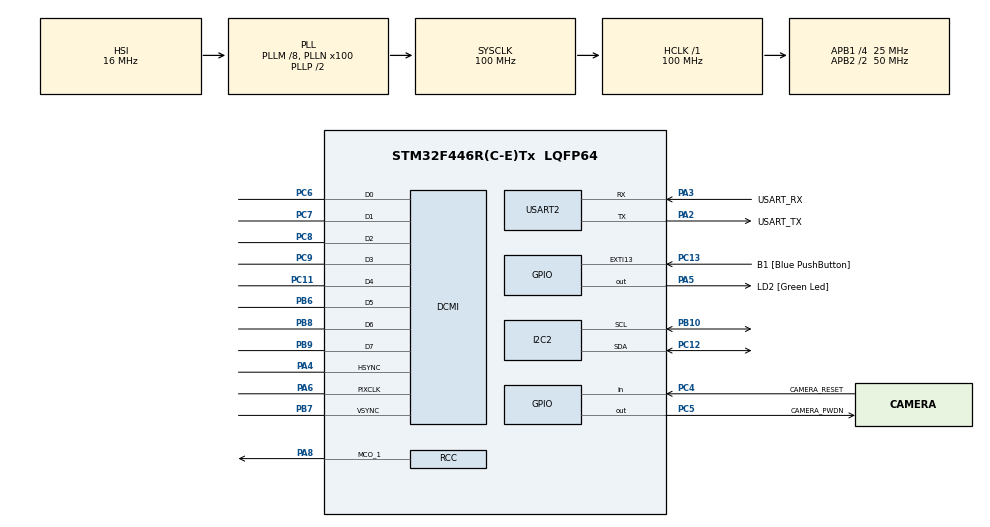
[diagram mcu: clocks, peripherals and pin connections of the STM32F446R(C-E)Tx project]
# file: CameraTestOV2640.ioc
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DCMI.JPEGMode=DCMI_JPEG_ENABLE
DCMI.PCKPolarity=DCMI_PCKPOLARITY_RISING
Dma.DCMI.0.Direction=DMA_PERIPH_TO_MEMORY
Dma.DCMI.0.FIFOMode=DMA_FIFOMODE_ENABLE
Dma.DCMI.0.FIFOThreshold=DMA_FIFO_THRESHOLD_FULL
Dma.DCMI.0.Instance=DMA2_Stream1
Dma.DCMI.0.MemBurst=DMA_MBURST_SINGLE
Dma.DCMI.0.MemDataAlignment=DMA_MDATAALIGN_BYTE
Dma.DCMI.0.MemInc=DMA_MINC_ENABLE
Dma.DCMI.0.Mode=DMA_CIRCULAR
Dma.DCMI.0.PeriphBurst=DMA_PBURST_SINGLE
Dma.DCMI.0.PeriphDataAlignment=DMA_PDATAALIGN_WORD
Dma.DCMI.0.PeriphInc=DMA_PINC_DISABLE
Dma.DCMI.0.Priority=DMA_PRIORITY_VERY_HIGH
Dma.Request0=DCMI
Dma.Request1=USART2_TX
Dma.USART2_TX.1.Direction=DMA_MEMORY_TO_PERIPH
Dma.USART2_TX.1.FIFOMode=DMA_FIFOMODE_ENABLE
Dma.USART2_TX.1.FIFOThreshold=DMA_FIFO_THRESHOLD_FULL
Dma.USART2_TX.1.Instance=DMA1_Stream6
Dma.USART2_TX.1.MemBurst=DMA_MBURST_SINGLE
Dma.USART2_TX.1.MemDataAlignment=DMA_MDATAALIGN_BYTE
Dma.USART2_TX.1.MemInc=DMA_MINC_ENABLE
Dma.USART2_TX.1.Mode=DMA_NORMAL
Dma.USART2_TX.1.PeriphBurst=DMA_PBURST_SINGLE
Dma.USART2_TX.1.PeriphDataAlignment=DMA_PDATAALIGN_BYTE
Dma.USART2_TX.1.PeriphInc=DMA_PINC_DISABLE
Dma.USART2_TX.1.Priority=DMA_PRIORITY_VERY_HIGH
I2C2.I2C_Mode=I2C_Standard
Mcu.Family=STM32F4
Mcu.Name=STM32F446R(C-E)Tx
Mcu.Package=LQFP64
NVIC.DMA1_Stream6_IRQn=true\:0\:0\:false\:false\:true\:false\:true\:true
NVIC.DMA2_Stream1_IRQn=true\:0\:0\:false\:false\:true\:false\:true\:true
NVIC.PriorityGroup=NVIC_PRIORITYGROUP_0
PA13.GPIO_Label=TMS
PA13.Mode=Serial_Wire
PA13.Signal=SYS_JTMS-SWDIO
PA14.GPIO_Label=TCK
PA14.Mode=Serial_Wire
PA14.Signal=SYS_JTCK-SWCLK
PA2.GPIO_Label=USART_TX
PA2.Mode=Asynchronous
PA2.Signal=USART2_TX
PA3.GPIO_Label=USART_RX
PA3.Mode=Asynchronous
PA3.Signal=USART2_RX
PA4.Mode=Slave_8_bits_External_Synchro
PA4.Signal=DCMI_HSYNC
PA5.GPIO_Label=LD2 [Green Led]
PA5.Signal=GPIO_Output
PA6.Mode=Slave_8_bits_External_Synchro
PA6.Signal=DCMI_PIXCLK
PA8.GPIO_Speed=GPIO_SPEED_FREQ_VERY_HIGH
PA8.Mode=Clock-out-1
PA8.Signal=RCC_MCO_1
PB10.GPIO_Pu=GPIO_PULLUP
PB10.Mode=I2C
PB10.Signal=I2C2_SCL
PB3.GPIO_Label=SWO
PB3.Signal=SYS_JTDO-SWO
PB6.Mode=Slave_8_bits_External_Synchro
PB6.Signal=DCMI_D5
PB7.Mode=Slave_8_bits_External_Synchro
PB7.Signal=DCMI_VSYNC
PB8.Mode=Slave_8_bits_External_Synchro
PB8.Signal=DCMI_D6
PB9.Mode=Slave_8_bits_External_Synchro
PB9.Signal=DCMI_D7
PC11.Mode=Slave_8_bits_External_Synchro
PC11.Signal=DCMI_D4
PC12.GPIO_Pu=GPIO_PULLUP
PC12.Mode=I2C
PC12.Signal=I2C2_SDA
PC13.GPIO_Label=B1 [Blue PushButton]
PC13.GPIO_ModeDefaultEXTI=GPIO_MODE_IT_FALLING
PC13.Signal=GPXTI13
PC14-OSC32_IN.Mode=LSE-External-Oscillator
PC14-OSC32_IN.Signal=RCC_OSC32_IN
PC15-OSC32_OUT.Mode=LSE-External-Oscillator
PC15-OSC32_OUT.Signal=RCC_OSC32_OUT
PC4.GPIO_Label=CAMERA_RESET
PC4.Signal=GPIO_Input
PC5.GPIO_Label=CAMERA_PWDN
PC5.Signal=GPIO_Output
PC6.Mode=Slave_8_bits_External_Synchro
PC6.Signal=DCMI_D0
PC7.Mode=Slave_8_bits_External_Synchro
PC7.Signal=DCMI_D1
PC8.Mode=Slave_8_bits_External_Synchro
PC8.Signal=DCMI_D2
PC9.Mode=Slave_8_bits_External_Synchro
PC9.Signal=DCMI_D3
PH0-OSC_IN.Mode=HSE-External-Clock-Source
PH0-OSC_IN.Signal=RCC_OSC_IN
PH1-OSC_OUT.Mode=HSE-External-Clock-Source
PH1-OSC_OUT.Signal=RCC_OSC_OUT
ProjectManager.HeapSize=0x200
ProjectManager.StackSize=0x400
ProjectManager.TargetToolchain=STM32CubeIDE
RCC.48MHZClocksFreq_Value=84000000
RCC.AHBFreq_Value=100000000
RCC.APB1CLKDivider=RCC_HCLK_DIV4
RCC.APB1Freq_Value=25000000
RCC.APB1TimFreq_Value=50000000
RCC.APB2CLKDivider=RCC_HCLK_DIV2
RCC.APB2Freq_Value=50000000
RCC.APB2TimFreq_Value=100000000
RCC.CortexFreq_Value=100000000
RCC.DATA_CACHE_ENABLE=0
RCC.FLatency-AdvancedSettings=FLASH_LATENCY_3
RCC.HCLKFreq_Value=100000000
RCC.HSE_VALUE=8000000
RCC.HSI_VALUE=16000000
RCC.INSTRUCTION_CACHE_ENABLE=0
RCC.PLLM=8
RCC.PLLN=100
RCC.PREFETCH_ENABLE=0
RCC.PWR_Regulator_Voltage_Scale=PWR_REGULATOR_VOLTAGE_SCALE1
RCC.RCC_MCO1Source=RCC_MCO1SOURCE_PLLCLK
RCC.RCC_MCO2Source=RCC_MCO2SOURCE_PLLI2SCLK
RCC.RCC_MCODiv1=RCC_MCODIV_5
RCC.RCC_MCODiv2=RCC_MCODIV_4
RCC.RCC_TIM_PRescaler_Selection=RCC_TIMPRES_DESACTIVATED
RCC.SYSCLKFreq_VALUE=100000000
RCC.SYSCLKSource=RCC_SYSCLKSOURCE_PLLCLK
RCC.USBFreq_Value=100000000
RCC.VCOOutputFreq_Value=200000000
USART2.VirtualMode=VM_ASYNC
board=NUCLEO-F446RE

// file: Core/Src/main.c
/* USER CODE BEGIN Header */
/**
  ******************************************************************************
  * @file           : main.c
  * @brief          : Main program body
  ******************************************************************************
  * @attention
  *
  * Copyright (c) 2024 STMicroelectronics.
  * All rights reserved.
  *
  * This software is licensed under terms that can be found in the LICENSE file
  * in the root directory of this software component.
  * If no LICENSE file comes with this software, it is provided AS-IS.
  *
  ******************************************************************************
  */
/* USER CODE END Header */
#include "main.h"

/* USER CODE BEGIN Includes */
#include <stdio.h>
#include <stdarg.h>
#include <string.h>
#include "ov2640.h"
/* USER CODE END Includes */

DCMI_HandleTypeDef hdcmi;
DMA_HandleTypeDef hdma_dcmi;

I2C_HandleTypeDef hi2c2;

UART_HandleTypeDef huart2;
DMA_HandleTypeDef hdma_usart2_tx;

/* USER CODE BEGIN PV */
/**
 * Resolution selection
 */

#define RES160X120
//#define RES320X240
//#define RES640X480
//#define RES800x600
//#define RES1024x768
//#define RES1280x960

#ifdef RES160X120
enum imageResolution imgRes=RES_160X120;
uint8_t frameBuffer[RES_160X120] = { 0 };
#endif

#ifdef RES320X240
enum imageResolution imgRes=RES_320X240;
uint8_t frameBuffer[RES_320X240] = { 0 };
#endif

#ifdef RES640X480
enum imageResolution imgRes=RES_640X480;
uint8_t frameBuffer[RES_640X480] = { 0 };
#endif

#ifdef RES800x600
enum imageResolution imgRes=RES_800x600;
uint8_t frameBuffer[RES_800x600] = { 0 };
#endif

#ifdef RES1024x768
enum imageResolution imgRes=RES_1024x768;
uint8_t frameBuffer[RES_1024x768] = { 0 };
#endif

#ifdef RES1280x960
enum imageResolution imgRes = RES_1280x960;
uint8_t frameBuffer[RES_1280x960] = { 0 };
#endif
/* USER CODE END PV */

void SystemClock_Config(void);
static void MX_GPIO_Init(void);
static void MX_DMA_Init(void);
static void MX_USART2_UART_Init(void);
static void MX_DCMI_Init(void);
static void MX_I2C2_Init(void);

/* USER CODE BEGIN 0 */
void vprint(const char *fmt, va_list argp) {
	char string[200];
	if (0 < vsprintf(string, fmt, argp)) // build string
			{
		HAL_UART_Transmit(&huart2, (uint8_t*) string, strlen(string), 0xffffff); // send message via UART
	}
}

void my_printf(const char *fmt, ...) // custom printf() function
{
	va_list argp;
	va_start(argp, fmt);
	vprint(fmt, argp);
	va_end(argp);
}
short mutex = 0;
int16_t bufferPointer = 0;
short headerFound = 0;
/* USER CODE END 0 */

int main(void)
{

  /* MCU Configuration--------------------------------------------------------*/

  /* Reset of all peripherals, Initializes the Flash interface and the Systick. */
  HAL_Init();

  /* Configure the system clock */
  SystemClock_Config();

  /* Initialize all configured peripherals */
  MX_GPIO_Init();
  MX_DMA_Init();
  MX_USART2_UART_Init();
  MX_DCMI_Init();
  MX_I2C2_Init();
  /* USER CODE BEGIN 2 */
	OV2640_Init(&hi2c2, &hdcmi);
	HAL_Delay(100);
	OV2640_ResolutionOptions(imgRes);
	HAL_Delay(1000);
	my_printf("Finishing configuration \r\n");

  /* USER CODE END 2 */

  /* Infinite loop */
  /* USER CODE BEGIN WHILE */
  while (1)
  {

	  if (HAL_GPIO_ReadPin(B1_GPIO_Port, B1_Pin))
	  {
		  if (HAL_GPIO_ReadPin(B1_GPIO_Port, B1_Pin)==0)
		  {
			  my_printf("Button Pressed\r\n");
			  memset(frameBuffer, 0, sizeof frameBuffer);
			  OV2640_CaptureSnapshot((uint32_t) frameBuffer, imgRes);
			  my_printf("Captured Frame\r\n");
//			  int i=0;
//			  while(i<15533)
//			  {
//				  my_printf("%04x",frameBuffer[i]);
//				  i++;
//			  }

		  }
//				while (1) {
//					if (headerFound == 0 && frameBuffer[bufferPointer] == 0xFF
//							&& frameBuffer[bufferPointer + 1] == 0xD8) {
//						headerFound = 1;
//					#ifdef DEBUG
//						my_printf("Found header of JPEG file \r\n");
//					#endif
//					}
//					if (headerFound == 1 && frameBuffer[bufferPointer] == 0xFF
//							&& frameBuffer[bufferPointer + 1] == 0xD9) {
//						bufferPointer = bufferPointer + 2;
//					#ifdef DEBUG
//						my_printf("Found EOF of JPEG file \r\n");
//						#endif
//						headerFound = 0;
//						break;
//					}
//
//					if (bufferPointer >= 65535) {
//						break;
//					}
//					bufferPointer++;
//				}
//					#ifdef DEBUG
//						my_printf("Image size: %d bytes \r\n",bufferPointer);
//					#endif
//
//				HAL_UART_Transmit_DMA(&huart2, frameBuffer, bufferPointer); //Use of DMA may be necessary for larger data streams.
//				bufferPointer = 0;
//				mutex = 0;
			}
//		} else {
//			mutex = 1;
//		}
    /* USER CODE END WHILE */

  }
}

void SystemClock_Config(void)
{
  RCC_OscInitTypeDef RCC_OscInitStruct = {0};
  RCC_ClkInitTypeDef RCC_ClkInitStruct = {0};

  /** Configure the main internal regulator output voltage
  */
  __HAL_RCC_PWR_CLK_ENABLE();
  __HAL_PWR_VOLTAGESCALING_CONFIG(PWR_REGULATOR_VOLTAGE_SCALE1);

  /** Initializes the RCC Oscillators according to the specified parameters
  * in the RCC_OscInitTypeDef structure.
  */
  RCC_OscInitStruct.OscillatorType = RCC_OSCILLATORTYPE_HSI;
  RCC_OscInitStruct.HSIState = RCC_HSI_ON;
  RCC_OscInitStruct.HSICalibrationValue = RCC_HSICALIBRATION_DEFAULT;
  RCC_OscInitStruct.PLL.PLLState = RCC_PLL_ON;
  RCC_OscInitStruct.PLL.PLLSource = RCC_PLLSOURCE_HSI;
  RCC_OscInitStruct.PLL.PLLM = 8;
  RCC_OscInitStruct.PLL.PLLN = 100;
  RCC_OscInitStruct.PLL.PLLP = RCC_PLLP_DIV2;
  RCC_OscInitStruct.PLL.PLLQ = 2;
  RCC_OscInitStruct.PLL.PLLR = 2;
  if (HAL_RCC_OscConfig(&RCC_OscInitStruct) != HAL_OK)
  {
    Error_Handler();
  }

  /** Initializes the CPU, AHB and APB buses clocks
  */
  RCC_ClkInitStruct.ClockType = RCC_CLOCKTYPE_HCLK|RCC_CLOCKTYPE_SYSCLK
                              |RCC_CLOCKTYPE_PCLK1|RCC_CLOCKTYPE_PCLK2;
  RCC_ClkInitStruct.SYSCLKSource = RCC_SYSCLKSOURCE_PLLCLK;
  RCC_ClkInitStruct.AHBCLKDivider = RCC_SYSCLK_DIV1;
  RCC_ClkInitStruct.APB1CLKDivider = RCC_HCLK_DIV4;
  RCC_ClkInitStruct.APB2CLKDivider = RCC_HCLK_DIV2;

  if (HAL_RCC_ClockConfig(&RCC_ClkInitStruct, FLASH_LATENCY_3) != HAL_OK)
  {
    Error_Handler();
  }
  HAL_RCC_MCOConfig(RCC_MCO1, RCC_MCO1SOURCE_PLLCLK, RCC_MCODIV_5);
}

static void MX_DCMI_Init(void)
{

  hdcmi.Instance = DCMI;
  hdcmi.Init.SynchroMode = DCMI_SYNCHRO_HARDWARE;
  hdcmi.Init.PCKPolarity = DCMI_PCKPOLARITY_RISING;
  hdcmi.Init.VSPolarity = DCMI_VSPOLARITY_LOW;
  hdcmi.Init.HSPolarity = DCMI_HSPOLARITY_LOW;
  hdcmi.Init.CaptureRate = DCMI_CR_ALL_FRAME;
  hdcmi.Init.ExtendedDataMode = DCMI_EXTEND_DATA_8B;
  hdcmi.Init.JPEGMode = DCMI_JPEG_ENABLE;
  hdcmi.Init.ByteSelectMode = DCMI_BSM_ALL;
  hdcmi.Init.ByteSelectStart = DCMI_OEBS_ODD;
  hdcmi.Init.LineSelectMode = DCMI_LSM_ALL;
  hdcmi.Init.LineSelectStart = DCMI_OELS_ODD;
  if (HAL_DCMI_Init(&hdcmi) != HAL_OK)
  {
    Error_Handler();
  }

}

static void MX_I2C2_Init(void)
{

  hi2c2.Instance = I2C2;
  hi2c2.Init.ClockSpeed = 100000;
  hi2c2.Init.DutyCycle = I2C_DUTYCYCLE_2;
  hi2c2.Init.OwnAddress1 = 0;
  hi2c2.Init.AddressingMode = I2C_ADDRESSINGMODE_7BIT;
  hi2c2.Init.DualAddressMode = I2C_DUALADDRESS_DISABLE;
  hi2c2.Init.OwnAddress2 = 0;
  hi2c2.Init.GeneralCallMode = I2C_GENERALCALL_DISABLE;
  hi2c2.Init.NoStretchMode = I2C_NOSTRETCH_DISABLE;
  if (HAL_I2C_Init(&hi2c2) != HAL_OK)
  {
    Error_Handler();
  }

}

static void MX_USART2_UART_Init(void)
{

  huart2.Instance = USART2;
  huart2.Init.BaudRate = 115200;
  huart2.Init.WordLength = UART_WORDLENGTH_8B;
  huart2.Init.StopBits = UART_STOPBITS_1;
  huart2.Init.Parity = UART_PARITY_NONE;
  huart2.Init.Mode = UART_MODE_TX_RX;
  huart2.Init.HwFlowCtl = UART_HWCONTROL_NONE;
  huart2.Init.OverSampling = UART_OVERSAMPLING_16;
  if (HAL_UART_Init(&huart2) != HAL_OK)
  {
    Error_Handler();
  }

}

static void MX_DMA_Init(void)
{

  /* DMA controller clock enable */
  __HAL_RCC_DMA2_CLK_ENABLE();
  __HAL_RCC_DMA1_CLK_ENABLE();

  /* DMA interrupt init */
  /* DMA1_Stream6_IRQn interrupt configuration */
  HAL_NVIC_SetPriority(DMA1_Stream6_IRQn, 0, 0);
  HAL_NVIC_EnableIRQ(DMA1_Stream6_IRQn);
  /* DMA2_Stream1_IRQn interrupt configuration */
  HAL_NVIC_SetPriority(DMA2_Stream1_IRQn, 0, 0);
  HAL_NVIC_EnableIRQ(DMA2_Stream1_IRQn);

}

static void MX_GPIO_Init(void)
{
  GPIO_InitTypeDef GPIO_InitStruct = {0};

  /* GPIO Ports Clock Enable */
  __HAL_RCC_GPIOC_CLK_ENABLE();
  __HAL_RCC_GPIOH_CLK_ENABLE();
  __HAL_RCC_GPIOA_CLK_ENABLE();
  __HAL_RCC_GPIOB_CLK_ENABLE();

  /*Configure GPIO pin Output Level */
  HAL_GPIO_WritePin(LD2_GPIO_Port, LD2_Pin, GPIO_PIN_RESET);

  /*Configure GPIO pin Output Level */
  HAL_GPIO_WritePin(CAMERA_PWDN_GPIO_Port, CAMERA_PWDN_Pin, GPIO_PIN_RESET);

  /*Configure GPIO pin : B1_Pin */
  GPIO_InitStruct.Pin = B1_Pin;
  GPIO_InitStruct.Mode = GPIO_MODE_IT_FALLING;
  GPIO_InitStruct.Pull = GPIO_NOPULL;
  HAL_GPIO_Init(B1_GPIO_Port, &GPIO_InitStruct);

  /*Configure GPIO pin : LD2_Pin */
  GPIO_InitStruct.Pin = LD2_Pin;
  GPIO_InitStruct.Mode = GPIO_MODE_OUTPUT_PP;
  GPIO_InitStruct.Pull = GPIO_NOPULL;
  GPIO_InitStruct.Speed = GPIO_SPEED_FREQ_LOW;
  HAL_GPIO_Init(LD2_GPIO_Port, &GPIO_InitStruct);

  /*Configure GPIO pin : CAMERA_RESET_Pin */
  GPIO_InitStruct.Pin = CAMERA_RESET_Pin;
  GPIO_InitStruct.Mode = GPIO_MODE_INPUT;
  GPIO_InitStruct.Pull = GPIO_NOPULL;
  HAL_GPIO_Init(CAMERA_RESET_GPIO_Port, &GPIO_InitStruct);

  /*Configure GPIO pin : CAMERA_PWDN_Pin */
  GPIO_InitStruct.Pin = CAMERA_PWDN_Pin;
  GPIO_InitStruct.Mode = GPIO_MODE_OUTPUT_PP;
  GPIO_InitStruct.Pull = GPIO_NOPULL;
  GPIO_InitStruct.Speed = GPIO_SPEED_FREQ_LOW;
  HAL_GPIO_Init(CAMERA_PWDN_GPIO_Port, &GPIO_InitStruct);

  /*Configure GPIO pin : PA8 */
  GPIO_InitStruct.Pin = GPIO_PIN_8;
  GPIO_InitStruct.Mode = GPIO_MODE_AF_PP;
  GPIO_InitStruct.Pull = GPIO_NOPULL;
  GPIO_InitStruct.Speed = GPIO_SPEED_FREQ_VERY_HIGH;
  GPIO_InitStruct.Alternate = GPIO_AF0_MCO;
  HAL_GPIO_Init(GPIOA, &GPIO_InitStruct);

}

void Error_Handler(void)
{
  __disable_irq();
  while (1)
  {
  }
}
